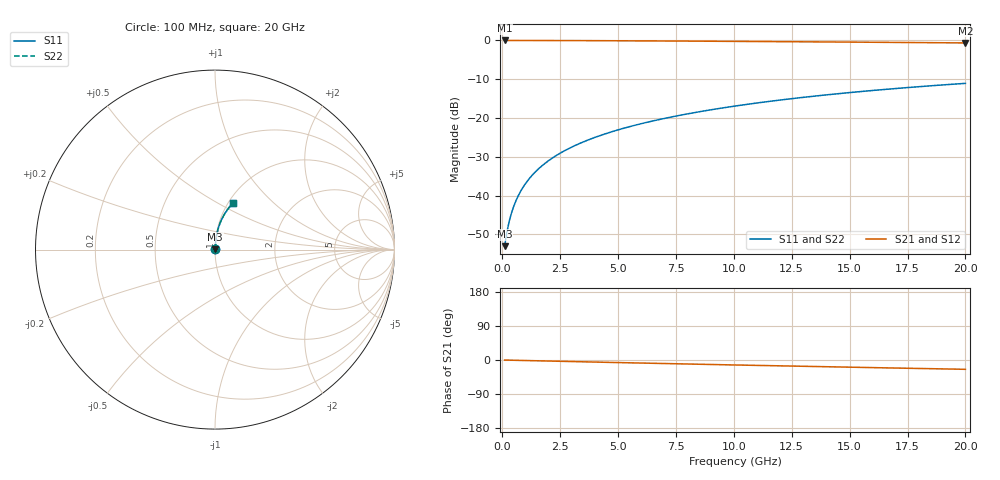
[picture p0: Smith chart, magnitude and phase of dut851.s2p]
! Touchstone file exported from HFSS 2024.1.0
!  File:  C:/UserFiles/LocalFiles/RDL_TSV_Batchsim/temp_RDL_top_851_1779855675.aedt
!  Generated:  12:23:21 PM May 27, 2026
!  Design:  RDL_top
!  Project:  temp_RDL_top_851_1779855675
!  Setup:  Setup1
!  Solution:  Sweep
! Variables:
!  dtsv = 10.80580581um
!  hbump = 3um
!  htsv = 96.03um
!  ldown = 100um
!  lrdl = 313.21um
!  p = 40
!  p1 = 46.16um
!  rhole = 1um
!  t = 450um
!  tdown = 3.915915916um
!  trdl = 4.76um
!  wdown = 15.38538539um
!  wrdl = 14.97um
# GHz S MA R 50.000000
! Terminal data exported
! Port[1] = Box2_T1
! Port[2] = Box2_T2
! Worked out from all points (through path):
!   200 points, 100 MHz to 20 GHz, reference 50 ohm
!   highest |S21| = -0.01 dB at 100 MHz (marker M1); lowest = -0.6 dB at 20 GHz (marker M2)
!   group delay of S21, straight-line fit = 3.4 ps
!   lowest |S11| = -53.0 dB at 100 MHz (marker M3), VSWR 1.00, Z = 50.2 + j0.148 ohm
!   |S11| at or under -10 dB: start of sweep to end of sweep
!   |S22| runs from -53.0 to -11.1 dB; largest |S21 - S12| = 2.1e-15
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0.1  0.00223 41.4  0.9983 -0.1  0.9983 -0.1  0.00223 41.4
! Gamma 0 0 0 0
! Port Impedance 50 0 50 0
0.2  0.003389 59.3  0.9983 -0.3  0.9983 -0.3  0.003389 59.3
0.3  0.004678 67.6  0.9982 -0.4  0.9982 -0.4  0.004678 67.6
0.4  0.006007 72.2  0.9981 -0.6  0.9981 -0.6  0.006007 72.2
0.5  0.007358 75.3  0.998 -0.7  0.998 -0.7  0.007358 75.3
0.6  0.008722 77.3  0.998 -0.8  0.998 -0.8  0.008722 77.3
0.8  0.01148 80.0  0.9978 -1.1  0.9978 -1.1  0.01148 80.0
1.1  0.01564 82.1  0.9976 -1.5  0.9976 -1.5  0.01564 82.1
1.5  0.02122 83.5  0.9972 -2.1  0.9972 -2.1  0.02122 83.5
1.8  0.02542 84.1  0.9968 -2.5  0.9968 -2.5  0.02542 84.1
2.1  0.02961 84.4  0.9963 -2.9  0.9963 -2.9  0.02961 84.4
2.7  0.03801 84.6  0.9953 -3.7  0.9953 -3.7  0.03801 84.6
3.5  0.04922 84.6  0.9936 -4.8  0.9936 -4.8  0.04922 84.6
4.2  0.05906 84.3  0.9918 -5.7  0.9918 -5.7  0.05906 84.3
5  0.07033 83.9  0.9896 -6.8  0.9896 -6.8  0.07034 83.9
5.9  0.08308 83.3  0.9868 -8.0  0.9868 -8.0  0.08309 83.4
6.8  0.0959 82.7  0.9838 -9.1  0.9838 -9.1  0.09591 82.7
8.3  0.1174 81.4  0.9784 -11.0  0.9784 -11.0  0.1174 81.4
10.1  0.1432 79.7  0.9716 -13.2  0.9716 -13.2  0.1433 79.7
13.4  0.1903 76.2  0.958 -17.1  0.958 -17.1  0.1903 76.2
16.7  0.236 72.4  0.9435 -20.9  0.9435 -20.9  0.236 72.5
20  0.2796 68.7  0.9281 -24.6  0.9281 -24.6  0.2796 68.7
